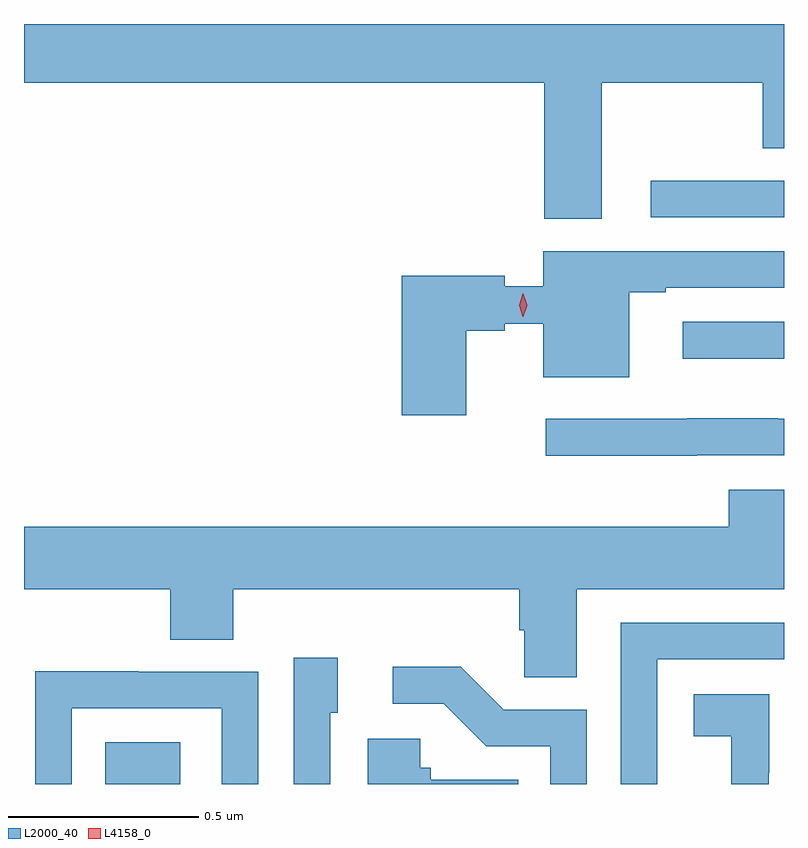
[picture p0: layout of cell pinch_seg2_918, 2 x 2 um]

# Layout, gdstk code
import gdstk
lib = gdstk.Library(unit=1e-6, precision=1e-09)
def R(c, l, rs):  # rectangles x0, y0, x1, y1
    for r in rs: c.add(gdstk.rectangle(r[:2], r[2:], *l))
def P(c, l, *ps):  # polygons
    for p in ps: c.add(gdstk.Polygon(p, *l))
L2000_40 = (2000, 40)
L4158_0 = (4158, 0)

pinch_seg2_918 = lib.new_cell('pinch_seg2_918')
R(pinch_seg2_918, L2000_40, [(417.29,600.503,417.487,600.613), (418.809,601.622,419.076,601.719), (418.725,601.995,419.076,602.091)])
P(pinch_seg2_918, L2000_40, [(418.597,602.348),(419.02,602.348),(419.02,602.176),(419.076,602.176),(419.076,602.503),(417.076,602.503),(417.076,602.348),(418.445,602.348),(418.445,601.991),(418.597,601.991)],
  [(418.24,601.696),(418.341,601.696),(418.341,601.714),(418.442,601.714),(418.442,601.574),(418.669,601.574),(418.669,601.797),(418.765,601.797),(418.765,601.809),(419.076,601.809),(419.076,601.905),(418.442,601.905),(418.442,601.813),(418.341,601.813),(418.341,601.84),(418.07,601.84),(418.07,601.473),(418.24,601.473)],
  [(418.847,601.368),(419.076,601.368),(419.076,601.464),(419.06,601.464),(419.06,601.465),(418.821,601.465),(418.821,601.464),(418.449,601.464),(418.449,601.367),(418.847,601.367)],
  [(418.531,601.016),(419.076,601.016),(419.076,601.278),(418.931,601.278),(418.931,601.18),(417.076,601.18),(417.076,601.016),(417.461,601.016),(417.461,600.883),(417.626,600.883),(417.626,601.016),(418.379,601.016),(418.379,600.907),(418.392,600.907),(418.392,600.784),(418.531,600.784)],
  [(418.743,600.831),(419.076,600.831),(419.076,600.927),(418.647,600.927),(418.647,600.503),(418.743,600.503)],
  [(417.882,600.69),(417.901,600.69),(417.901,600.835),(417.786,600.835),(417.786,600.503),(417.882,600.503)],
  [(418.557,600.699),(418.338,600.699),(418.225,600.812),(418.047,600.812),(418.047,600.714),(418.181,600.714),(418.292,600.603),(418.461,600.603),(418.461,600.503),(418.557,600.503)],
  [(417.201,600.702),(417.597,600.702),(417.597,600.503),(417.693,600.503),(417.693,600.798),(417.377,600.798),(417.377,600.8),(417.105,600.8),(417.105,600.503),(417.201,600.503)],
  [(419.036,600.533),(419.037,600.533),(419.037,600.739),(418.839,600.739),(418.839,600.629),(418.937,600.629),(418.937,600.503),(419.036,600.503)],
  [(418.376,600.514),(418.146,600.514),(418.146,600.546),(418.119,600.546),(418.119,600.622),(417.98,600.622),(417.98,600.503),(418.376,600.503)])
P(pinch_seg2_918, L4158_0, [(418.389,601.733),(418.389,601.733),(418.379,601.763),(418.389,601.793),(418.389,601.794),(418.39,601.793),(418.4,601.763),(418.39,601.733)])

lib.write_gds('pinch_seg2_918.gds')
